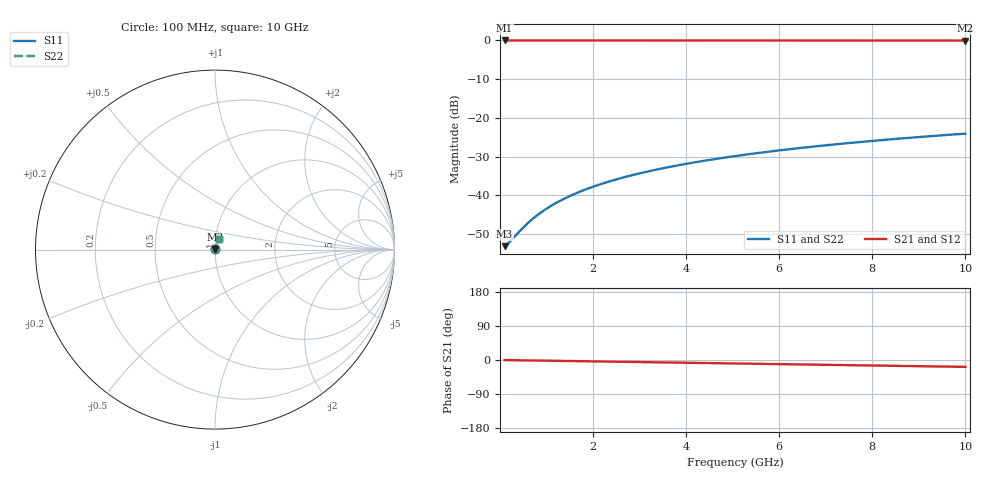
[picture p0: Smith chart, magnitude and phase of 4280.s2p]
# Hz S RI R 50.00
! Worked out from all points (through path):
!   100 points, 100 MHz to 10 GHz, reference 50 ohm
!   highest |S21| = -0.02 dB at 100 MHz (marker M1); lowest = 0.0 dB at 10 GHz (marker M2)
!   group delay of S21, straight-line fit = 5.04 ps
!   lowest |S11| = -53.1 dB at 100 MHz (marker M3), VSWR 1.00, Z = 50.2 + j0.0633 ohm
!   |S11| at or under -10 dB: start of sweep to end of sweep
!   |S22| runs from -53.1 to -24.1 dB; largest |S21 - S12| = 0
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1e8  0.00212 0.000631  0.9979 -0.00316  0.9979 -0.00316  0.00212 0.000631
2e8  0.00214 0.00126  0.9978 -0.00631  0.9978 -0.00631  0.00214 0.00126
5e8  0.0022 0.00315  0.9977 -0.0158  0.9977 -0.0158  0.0022 0.00315
6e8  0.00223 0.00378  0.9976 -0.0189  0.9976 -0.0189  0.00223 0.00378
7e8  0.00226 0.00441  0.9976 -0.0221  0.9976 -0.0221  0.00226 0.00441
9e8  0.00233 0.00567  0.9974 -0.0284  0.9974 -0.0284  0.00233 0.00567
1.1e9  0.00242 0.00693  0.9972 -0.0347  0.9972 -0.0347  0.00242 0.00693
1.3e9  0.00252 0.00819  0.9969 -0.041  0.9969 -0.041  0.00252 0.00819
1.5e9  0.00264 0.00944  0.9966 -0.0473  0.9966 -0.0473  0.00264 0.00944
1.8e9  0.00284 0.0113  0.9961 -0.0568  0.9961 -0.0568  0.00284 0.0113
2.1e9  0.00308 0.0132  0.9955 -0.0662  0.9955 -0.0662  0.00308 0.0132
2.5e9  0.00346 0.0157  0.9945 -0.0788  0.9945 -0.0788  0.00346 0.0157
2.9e9  0.00389 0.0182  0.9934 -0.0914  0.9934 -0.0914  0.00389 0.0182
3.4e9  0.00453 0.0213  0.9917 -0.1071  0.9917 -0.1071  0.00453 0.0213
3.8e9  0.0051 0.0237  0.9902 -0.1196  0.9902 -0.1196  0.0051 0.0237
4.2e9  0.00574 0.0261  0.9885 -0.1322  0.9885 -0.1322  0.00574 0.0261
5.1e9  0.0074 0.0316  0.9842 -0.1602  0.9842 -0.1602  0.0074 0.0316
5.9e9  0.00913 0.0363  0.9796 -0.1851  0.9796 -0.1851  0.00913 0.0363
6.7e9  0.0111 0.0409  0.9744 -0.2098  0.9744 -0.2098  0.0111 0.0409
7.5e9  0.0133 0.0454  0.9685 -0.2344  0.9685 -0.2344  0.0133 0.0454
8.4e9  0.0161 0.0504  0.9611 -0.2618  0.9611 -0.2618  0.0161 0.0504
1e10  0.0216 0.0588  0.946 -0.3101  0.946 -0.3101  0.0216 0.0588
